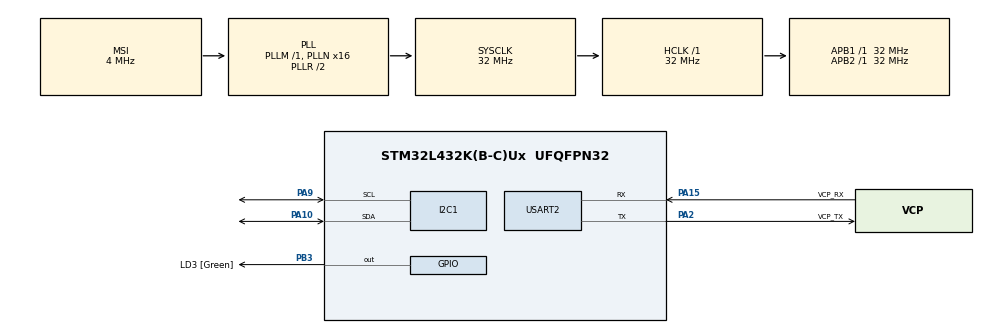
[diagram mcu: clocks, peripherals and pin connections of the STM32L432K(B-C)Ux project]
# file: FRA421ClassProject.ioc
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I2C1.Timing=0x00707CBB
Mcu.Family=STM32L4
Mcu.Name=STM32L432K(B-C)Ux
Mcu.Package=UFQFPN32
NVIC.PriorityGroup=NVIC_PRIORITYGROUP_4
PA0.GPIO_Label=MCO [High speed clock in]
PA0.Mode=HSE-External-Clock-Source-for-LittleOrca
PA0.Signal=RCC_CK_IN
PA10.Mode=I2C
PA10.Signal=I2C1_SDA
PA13\ (JTMS-SWDIO).GPIO_Label=SWDIO
PA13\ (JTMS-SWDIO).Mode=Serial_Wire
PA13\ (JTMS-SWDIO).Signal=SYS_JTMS-SWDIO
PA14\ (JTCK-SWCLK).GPIO_Label=SWCLK
PA14\ (JTCK-SWCLK).Mode=Serial_Wire
PA14\ (JTCK-SWCLK).Signal=SYS_JTCK-SWCLK
PA15\ (JTDI).GPIO_Label=VCP_RX
PA15\ (JTDI).Mode=Asynchronous
PA15\ (JTDI).Signal=USART2_RX
PA2.GPIO_Label=VCP_TX
PA2.Mode=Asynchronous
PA2.Signal=USART2_TX
PA9.Mode=I2C
PA9.Signal=I2C1_SCL
PB3\ (JTDO-TRACESWO).GPIO_Label=LD3 [Green]
PB3\ (JTDO-TRACESWO).Signal=GPIO_Output
PC14-OSC32_IN\ (PC14).Mode=LSE-External-Oscillator
PC14-OSC32_IN\ (PC14).Signal=RCC_OSC32_IN
PC15-OSC32_OUT\ (PC15).Mode=LSE-External-Oscillator
PC15-OSC32_OUT\ (PC15).Signal=RCC_OSC32_OUT
ProjectManager.HeapSize=0x200
ProjectManager.StackSize=0x400
ProjectManager.TargetToolchain=STM32CubeIDE
RCC.AHBFreq_Value=32000000
RCC.APB1Freq_Value=32000000
RCC.APB1TimFreq_Value=32000000
RCC.APB2Freq_Value=32000000
RCC.APB2TimFreq_Value=32000000
RCC.CortexFreq_Value=32000000
RCC.HCLKFreq_Value=32000000
RCC.HSE_VALUE=8000000
RCC.HSI16_VALUE=16000000
RCC.HSI48_VALUE=48000000
RCC.HSI_VALUE=16000000
RCC.MSI_VALUE=4000000
RCC.PLLMUL=RCC_PLLMUL_4
RCC.PLLN=16
RCC.SYSCLKFreq_VALUE=32000000
RCC.SYSCLKSource=RCC_SYSCLKSOURCE_PLLCLK
RCC.VCOOutputFreq_Value=64000000
USART2.VirtualMode-Asynchronous=VM_ASYNC
board=NUCLEO-L432KC

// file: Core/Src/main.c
/* USER CODE BEGIN Header */
/**
  ******************************************************************************
  * @file           : main.c
  * @brief          : Main program body
  ******************************************************************************
  * @attention
  *
  * <h2><center>&copy; Copyright (c) 2021 STMicroelectronics.
  * All rights reserved.</center></h2>
  *
  * This software component is licensed by ST under BSD 3-Clause license,
  * the "License"; You may not use this file except in compliance with the
  * License. You may obtain a copy of the License at:
  *                        opensource.org/licenses/BSD-3-Clause
  *
  ******************************************************************************
  */
/* USER CODE END Header */
#include "main.h"

/* USER CODE BEGIN Includes */
#include <math.h>
/* USER CODE END Includes */

/* USER CODE BEGIN PD */
// GY-521 (MPU6050) register addresses
#define MPU6050_ADDR 0xD0
#define WHO_AM_I_REG 0x75

const uint16_t i2c_timeout = 100;

// System constants
#define deltat 0.001f // sampling period in seconds (shown as 1 ms)
#define gyroMeasError 3.14159265358979f * (5.0f / 180.0f) // gyroscope measurement error in rad/s (shown as 5 deg/s)
#define beta sqrt(3.0f / 4.0f) * gyroMeasError // compute beta

// Global system variables
float a_x, a_y, a_z; // accelerometer measurements
float w_x, w_y, w_z; // gyroscope measurements in rad/s
float SEq_1 = 1.0f, SEq_2 = 0.0f, SEq_3 = 0.0f, SEq_4 = 0.0f; // estimated orientation quaternion elements with initial conditions

/* USER CODE END PD */

I2C_HandleTypeDef hi2c1;

UART_HandleTypeDef huart2;

/* USER CODE BEGIN PV */
uint8_t MPU6050_Init(I2C_HandleTypeDef *I2Cx) {
    uint8_t check;	// buffer to store feedback
    uint8_t data;	// buffer to send configuration data

    // check device ID WHO_AM_I

    HAL_I2C_Mem_Read(I2Cx, MPU6050_ADDR, WHO_AM_I_REG, 1, &check, 1, i2c_timeout);

    if (check == 0x68)  // 0x68 will be returned by the sensor if everything goes well
    {
        // power management register 0X6B we should write all 0's to wake the sensor up
    	data = 0b00001000; // not sleep + disable temperature sensor + use internal 8MHz oscillator as clock source
        HAL_I2C_Mem_Write(I2Cx,
        		MPU6050_ADDR,
				0X6B,			// PWR_MGMT_1 register
				1,
				&data,
				1,
				i2c_timeout);

        // Disable digital low pass filter (Gyroscope Output Rate will = 8kHz)
        data = 0;
        HAL_I2C_Mem_Write(I2Cx,
        		MPU6050_ADDR,
				0x1A,			// Filter config register
        		1,
        		&data,
        		1,
        		i2c_timeout);

        // Set Sample Rate to 1KHz (Sample Rate = Gyroscope Output Rate / (1 + SMPLRT_DIV))
        data = 0x07;
        HAL_I2C_Mem_Write(I2Cx,
        		MPU6050_ADDR,
				0x19,			// Sample rate config register
        		1,
        		&data,
        		1,
        		i2c_timeout);

        // Set accelerometer configuration (+-2g)
        data = 0x00;
        HAL_I2C_Mem_Write(I2Cx,
        		MPU6050_ADDR,
				0x1C,			// ACCEL_CONFIG Register
        		1,
        		&data,
        		1,
        		i2c_timeout);

        // Set Gyroscope configuration (+= 250deg)
        data = 0x00;
        HAL_I2C_Mem_Write(I2Cx,
        		MPU6050_ADDR,
				0x1B,			// GYRO_CONFIG Register
        		1,
        		&data,
        		1,
        		i2c_timeout);
        return 0;
    }
    return 1;
}
void MPU6050_Read_Accel(I2C_HandleTypeDef *I2Cx) {
    uint8_t data[6];	// buffer
    HAL_I2C_Mem_Read(I2Cx,
    		MPU6050_ADDR,
			0x3B,			// Read linear acceleration register
			1,
			data,
			6,
			i2c_timeout);

    a_x = (int16_t) (data[0] << 8 | data[1]) / 16384.0;
    a_y = (int16_t) (data[2] << 8 | data[3]) / 16384.0;
    a_z = (int16_t) (data[4] << 8 | data[5]) / 16384.0;
}
void MPU6050_Read_Gyro(I2C_HandleTypeDef *I2Cx) {
    uint8_t data[6];	// buffer
    HAL_I2C_Mem_Read(I2Cx,
    		MPU6050_ADDR,
			0x43, 			// Read angular acceleration register
    		1,
			data,
    		6,
    		i2c_timeout);

    w_x = (int16_t) (data[0] << 8 | data[1]) / 7509.87;
    w_y = (int16_t) (data[2] << 8 | data[3]) / 7509.87;
    w_z = (int16_t) (data[4] << 8 | data[5]) / 7509.87;
}
void filterUpdate()
{
	// Local system variables
	float norm; // vector norm
	float SEqDot_omega_1, SEqDot_omega_2, SEqDot_omega_3, SEqDot_omega_4; // quaternion derrivative from gyroscopes elements
	float f_1, f_2, f_3; // objective function elements
	float J_11or24, J_12or23, J_13or22, J_14or21, J_32, J_33; // objective function Jacobian elements
	float SEqHatDot_1, SEqHatDot_2, SEqHatDot_3, SEqHatDot_4; // estimated direction of the gyroscope error
	// Axulirary variables to avoid reapeated calcualtions
	float halfSEq_1 = 0.5f * SEq_1;
	float halfSEq_2 = 0.5f * SEq_2;
	float halfSEq_3 = 0.5f * SEq_3;
	float halfSEq_4 = 0.5f * SEq_4;
	float twoSEq_1 = 2.0f * SEq_1;
	float twoSEq_2 = 2.0f * SEq_2;
	float twoSEq_3 = 2.0f * SEq_3;
	// Normalise the accelerometer measurement
	norm = sqrt(a_x * a_x + a_y * a_y + a_z * a_z);
	a_x /= norm;
	a_y /= norm;
	a_z /= norm;
	// Compute the objective function and Jacobian
	f_1 = twoSEq_2 * SEq_4 - twoSEq_1 * SEq_3 - a_x;
	f_2 = twoSEq_1 * SEq_2 + twoSEq_3 * SEq_4 - a_y;
	f_3 = 1.0f - twoSEq_2 * SEq_2 - twoSEq_3 * SEq_3 - a_z;
	J_11or24 = twoSEq_3; // J_11 negated in matrix multiplication
	J_12or23 = 2.0f * SEq_4;
	J_13or22 = twoSEq_1; // J_12 negated in matrix multiplication
	J_14or21 = twoSEq_2;
	J_32 = 2.0f * J_14or21; // negated in matrix multiplication
	J_33 = 2.0f * J_11or24; // negated in matrix multiplication
	// Compute the gradient (matrix multiplication)
	SEqHatDot_1 = J_14or21 * f_2 - J_11or24 * f_1;
	SEqHatDot_2 = J_12or23 * f_1 + J_13or22 * f_2 - J_32 * f_3;
	SEqHatDot_3 = J_12or23 * f_2 - J_33 * f_3 - J_13or22 * f_1;
	SEqHatDot_4 = J_14or21 * f_1 + J_11or24 * f_2;
	// Normalise the gradient
	norm = sqrt(SEqHatDot_1 * SEqHatDot_1 + SEqHatDot_2 * SEqHatDot_2 + SEqHatDot_3 * SEqHatDot_3 + SEqHatDot_4 * SEqHatDot_4);
	SEqHatDot_1 /= norm;
	SEqHatDot_2 /= norm;
	SEqHatDot_3 /= norm;
	SEqHatDot_4 /= norm;
	// Compute the quaternion derrivative measured by gyroscopes
	SEqDot_omega_1 = -halfSEq_2 * w_x - halfSEq_3 * w_y - halfSEq_4 * w_z;
	SEqDot_omega_2 = halfSEq_1 * w_x + halfSEq_3 * w_z - halfSEq_4 * w_y;
	SEqDot_omega_3 = halfSEq_1 * w_y - halfSEq_2 * w_z + halfSEq_4 * w_x;
	SEqDot_omega_4 = halfSEq_1 * w_z + halfSEq_2 * w_y - halfSEq_3 * w_x;
	// Compute then integrate the estimated quaternion derrivative
	SEq_1 += (SEqDot_omega_1 - (beta * SEqHatDot_1)) * deltat;
	SEq_2 += (SEqDot_omega_2 - (beta * SEqHatDot_2)) * deltat;
	SEq_3 += (SEqDot_omega_3 - (beta * SEqHatDot_3)) * deltat;
	SEq_4 += (SEqDot_omega_4 - (beta * SEqHatDot_4)) * deltat;
	// Normalise quaternion
	norm = sqrt(SEq_1 * SEq_1 + SEq_2 * SEq_2 + SEq_3 * SEq_3 + SEq_4 * SEq_4);
	SEq_1 /= norm;
	SEq_2 /= norm;
	SEq_3 /= norm;
	SEq_4 /= norm;
}
/* USER CODE END PV */

void SystemClock_Config(void);
static void MX_GPIO_Init(void);
static void MX_USART2_UART_Init(void);
static void MX_I2C1_Init(void);

int main(void)
{

  /* MCU Configuration--------------------------------------------------------*/

  /* Reset of all peripherals, Initializes the Flash interface and the Systick. */
  HAL_Init();

  /* Configure the system clock */
  SystemClock_Config();

  /* Initialize all configured peripherals */
  MX_GPIO_Init();
  MX_USART2_UART_Init();
  MX_I2C1_Init();
  /* USER CODE BEGIN 2 */
  uint8_t MSG[35] = {'\0'};				// Message buffer for debug
  int len;								// Length or message buffer
  while (MPU6050_Init(&hi2c1) == 1);	// Wait for sensor to ready
  MPU6050_Read_Accel(&hi2c1);
  MPU6050_Read_Gyro(&hi2c1);

  /* USER CODE END 2 */

  /* Infinite loop */
  /* USER CODE BEGIN WHILE */
  while (1)
  {
	  MPU6050_Read_Accel(&hi2c1);
	  MPU6050_Read_Gyro(&hi2c1);
	  filterUpdate();

	  len = sprintf(MSG, "q:%.2f\t%.2f\t%.2f\t%.2f\n", SEq_1, SEq_2, SEq_3, SEq_4);
	  HAL_UART_Transmit(&huart2, MSG, len, 100);
//	  HAL_Delay(200);
    /* USER CODE END WHILE */

  }
}

void SystemClock_Config(void)
{
  RCC_OscInitTypeDef RCC_OscInitStruct = {0};
  RCC_ClkInitTypeDef RCC_ClkInitStruct = {0};

  /** Configure the main internal regulator output voltage
  */
  if (HAL_PWREx_ControlVoltageScaling(PWR_REGULATOR_VOLTAGE_SCALE1) != HAL_OK)
  {
    Error_Handler();
  }
  /** Configure LSE Drive Capability
  */
  HAL_PWR_EnableBkUpAccess();
  __HAL_RCC_LSEDRIVE_CONFIG(RCC_LSEDRIVE_LOW);
  /** Initializes the RCC Oscillators according to the specified parameters
  * in the RCC_OscInitTypeDef structure.
  */
  RCC_OscInitStruct.OscillatorType = RCC_OSCILLATORTYPE_LSE|RCC_OSCILLATORTYPE_MSI;
  RCC_OscInitStruct.LSEState = RCC_LSE_ON;
  RCC_OscInitStruct.MSIState = RCC_MSI_ON;
  RCC_OscInitStruct.MSICalibrationValue = 0;
  RCC_OscInitStruct.MSIClockRange = RCC_MSIRANGE_6;
  RCC_OscInitStruct.PLL.PLLState = RCC_PLL_ON;
  RCC_OscInitStruct.PLL.PLLSource = RCC_PLLSOURCE_MSI;
  RCC_OscInitStruct.PLL.PLLM = 1;
  RCC_OscInitStruct.PLL.PLLN = 16;
  RCC_OscInitStruct.PLL.PLLP = RCC_PLLP_DIV7;
  RCC_OscInitStruct.PLL.PLLQ = RCC_PLLQ_DIV2;
  RCC_OscInitStruct.PLL.PLLR = RCC_PLLR_DIV2;
  if (HAL_RCC_OscConfig(&RCC_OscInitStruct) != HAL_OK)
  {
    Error_Handler();
  }
  /** Initializes the CPU, AHB and APB buses clocks
  */
  RCC_ClkInitStruct.ClockType = RCC_CLOCKTYPE_HCLK|RCC_CLOCKTYPE_SYSCLK
                              |RCC_CLOCKTYPE_PCLK1|RCC_CLOCKTYPE_PCLK2;
  RCC_ClkInitStruct.SYSCLKSource = RCC_SYSCLKSOURCE_PLLCLK;
  RCC_ClkInitStruct.AHBCLKDivider = RCC_SYSCLK_DIV1;
  RCC_ClkInitStruct.APB1CLKDivider = RCC_HCLK_DIV1;
  RCC_ClkInitStruct.APB2CLKDivider = RCC_HCLK_DIV1;

  if (HAL_RCC_ClockConfig(&RCC_ClkInitStruct, FLASH_LATENCY_1) != HAL_OK)
  {
    Error_Handler();
  }
  /** Enable MSI Auto calibration
  */
  HAL_RCCEx_EnableMSIPLLMode();
}

static void MX_I2C1_Init(void)
{

  hi2c1.Instance = I2C1;
  hi2c1.Init.Timing = 0x00707CBB;
  hi2c1.Init.OwnAddress1 = 0;
  hi2c1.Init.AddressingMode = I2C_ADDRESSINGMODE_7BIT;
  hi2c1.Init.DualAddressMode = I2C_DUALADDRESS_DISABLE;
  hi2c1.Init.OwnAddress2 = 0;
  hi2c1.Init.OwnAddress2Masks = I2C_OA2_NOMASK;
  hi2c1.Init.GeneralCallMode = I2C_GENERALCALL_DISABLE;
  hi2c1.Init.NoStretchMode = I2C_NOSTRETCH_DISABLE;
  if (HAL_I2C_Init(&hi2c1) != HAL_OK)
  {
    Error_Handler();
  }
  /** Configure Analogue filter
  */
  if (HAL_I2CEx_ConfigAnalogFilter(&hi2c1, I2C_ANALOGFILTER_ENABLE) != HAL_OK)
  {
    Error_Handler();
  }
  /** Configure Digital filter
  */
  if (HAL_I2CEx_ConfigDigitalFilter(&hi2c1, 0) != HAL_OK)
  {
    Error_Handler();
  }

}

static void MX_USART2_UART_Init(void)
{

  huart2.Instance = USART2;
  huart2.Init.BaudRate = 115200;
  huart2.Init.WordLength = UART_WORDLENGTH_8B;
  huart2.Init.StopBits = UART_STOPBITS_1;
  huart2.Init.Parity = UART_PARITY_NONE;
  huart2.Init.Mode = UART_MODE_TX_RX;
  huart2.Init.HwFlowCtl = UART_HWCONTROL_NONE;
  huart2.Init.OverSampling = UART_OVERSAMPLING_16;
  huart2.Init.OneBitSampling = UART_ONE_BIT_SAMPLE_DISABLE;
  huart2.AdvancedInit.AdvFeatureInit = UART_ADVFEATURE_NO_INIT;
  if (HAL_UART_Init(&huart2) != HAL_OK)
  {
    Error_Handler();
  }

}

static void MX_GPIO_Init(void)
{
  GPIO_InitTypeDef GPIO_InitStruct = {0};

  /* GPIO Ports Clock Enable */
  __HAL_RCC_GPIOC_CLK_ENABLE();
  __HAL_RCC_GPIOA_CLK_ENABLE();
  __HAL_RCC_GPIOB_CLK_ENABLE();

  /*Configure GPIO pin Output Level */
  HAL_GPIO_WritePin(LD3_GPIO_Port, LD3_Pin, GPIO_PIN_RESET);

  /*Configure GPIO pin : LD3_Pin */
  GPIO_InitStruct.Pin = LD3_Pin;
  GPIO_InitStruct.Mode = GPIO_MODE_OUTPUT_PP;
  GPIO_InitStruct.Pull = GPIO_NOPULL;
  GPIO_InitStruct.Speed = GPIO_SPEED_FREQ_LOW;
  HAL_GPIO_Init(LD3_GPIO_Port, &GPIO_InitStruct);

}

void Error_Handler(void)
{
  __disable_irq();
  while (1)
  {
  }
}

/************************ (C) COPYRIGHT STMicroelectronics *****END OF FILE****/
